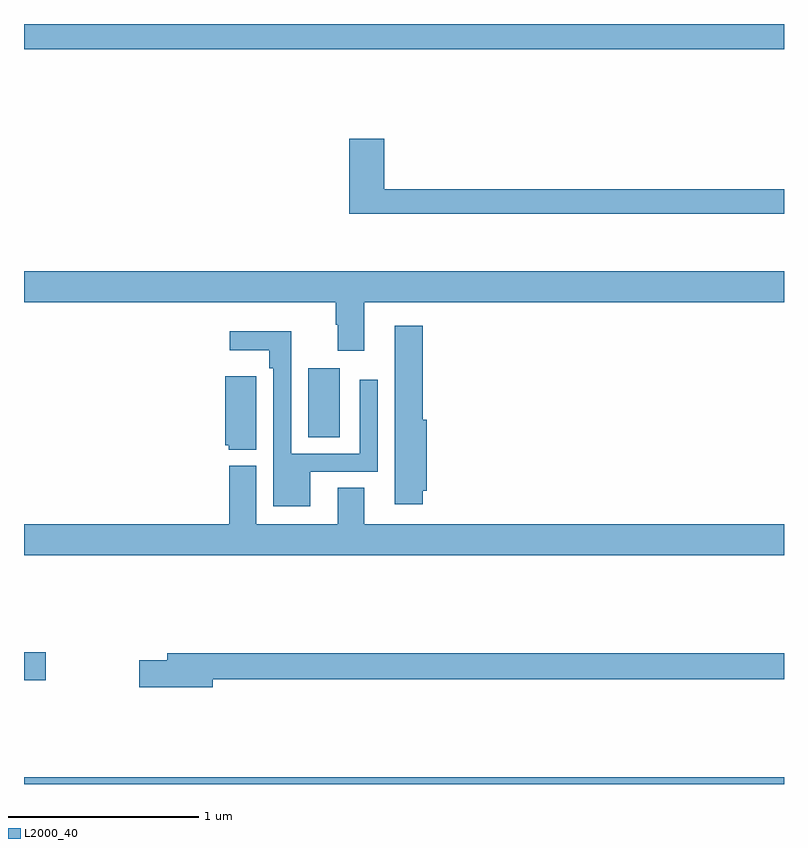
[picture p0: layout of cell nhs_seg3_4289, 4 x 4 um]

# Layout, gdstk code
import gdstk
lib = gdstk.Library(unit=1e-6, precision=1e-09)
def R(c, l, rs):  # rectangles x0, y0, x1, y1
    for r in rs: c.add(gdstk.rectangle(r[:2], r[2:], *l))
def P(c, l, *ps):  # polygons
    for p in ps: c.add(gdstk.Polygon(p, *l))
L2000_40 = (2000, 40)

nhs_seg3_4289 = lib.new_cell('nhs_seg3_4289')
R(nhs_seg3_4289, L2000_40, [(339,678.4,343,678.436), (339,678.947,339.115,679.094), (340.496,680.224,340.663,680.587), (339,682.268,343,682.4)])
P(nhs_seg3_4289, L2000_40, [(343,681.53),(340.895,681.53),(340.895,681.796),(340.712,681.796),(340.712,681.402),(343,681.402)],
  [(340.792,680.936),(343,680.936),(343,681.1),(339,681.1),(339,680.936),(340.64,680.936),(340.64,680.816),(340.652,680.816),(340.652,680.679),(340.792,680.679)],
  [(341.099,679.944),(341.12,679.944),(341.12,680.316),(341.099,680.316),(341.099,680.812),(340.952,680.812),(340.952,679.872),(341.099,679.872)],
  [(340.507,680.043),(340.863,680.043),(340.863,680.527),(340.767,680.527),(340.767,680.139),(340.407,680.139),(340.407,680.782),(340.083,680.782),(340.083,680.684),(340.291,680.684),(340.291,680.588),(340.311,680.588),(340.311,679.862),(340.507,679.862)],
  [(340.222,680.545),(340.058,680.545),(340.058,680.184),(340.077,680.184),(340.077,680.159),(340.222,680.159)],
  [(343,679.768),(340.792,679.768),(340.792,679.958),(340.652,679.958),(340.652,679.768),(340.222,679.768),(340.222,680.074),(340.079,680.074),(340.079,679.768),(339,679.768),(339,679.604),(343,679.604)],
  [(339.994,678.952),(343,678.952),(343,679.088),(339.755,679.088),(339.755,679.052),(339.606,679.052),(339.606,678.91),(339.994,678.91)])

lib.write_gds('nhs_seg3_4289.gds')
